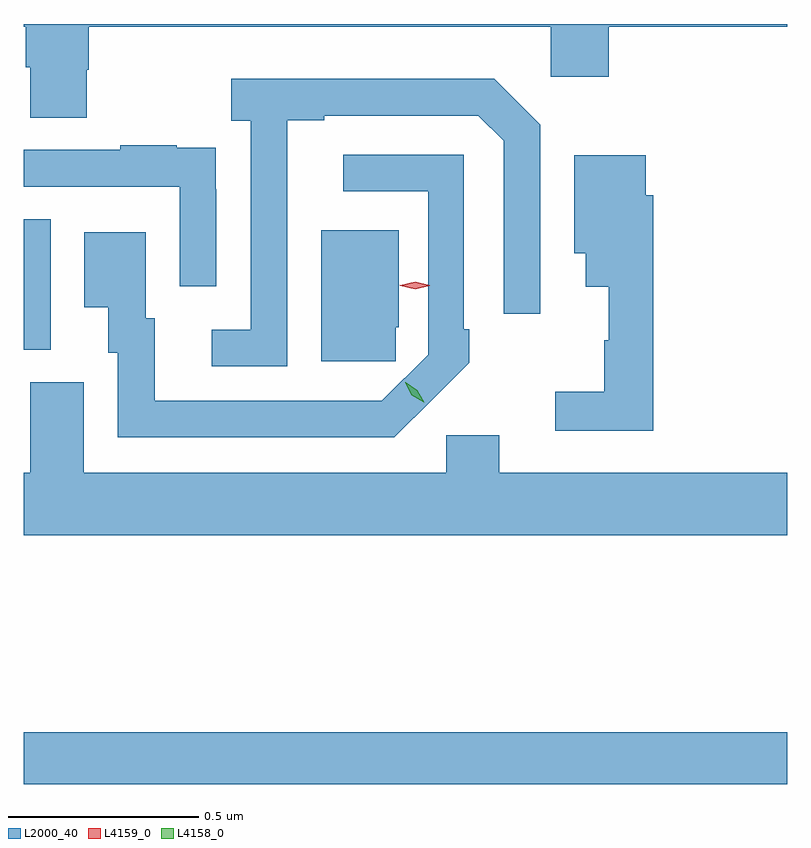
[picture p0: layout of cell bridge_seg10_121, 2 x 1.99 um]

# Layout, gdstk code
import gdstk
lib = gdstk.Library(unit=1e-6, precision=1e-09)
def R(c, l, rs):  # rectangles x0, y0, x1, y1
    for r in rs: c.add(gdstk.rectangle(r[:2], r[2:], *l))
def P(c, l, *ps):  # polygons
    for p in ps: c.add(gdstk.Polygon(p, *l))
L2000_40 = (2000, 40)
L4158_0 = (4158, 0)
L4159_0 = (4159, 0)

bridge_seg10_121 = lib.new_cell('bridge_seg10_121')
R(bridge_seg10_121, L2000_40, [(394.518,1261.036,396.518,1261.172), (394.518,1262.173,394.588,1262.516)])
P(bridge_seg10_121, L2000_40, [(394.683,1262.907),(394.688,1262.907),(394.688,1263.02),(395.898,1263.02),(395.898,1262.889),(396.05,1262.889),(396.05,1263.02),(396.518,1263.02),(396.518,1263.027),(394.518,1263.027),(394.518,1263.02),(394.523,1263.02),(394.523,1262.914),(394.535,1262.914),(394.535,1262.782),(394.683,1262.782)],
  [(395.208,1262.775),(395.305,1262.775),(395.305,1262.787),(395.709,1262.787),(395.775,1262.721),(395.775,1262.268),(395.871,1262.268),(395.871,1262.763),(395.75,1262.884),(395.061,1262.884),(395.061,1262.774),(395.112,1262.774),(395.112,1262.226),(395.01,1262.226),(395.01,1262.13),(395.208,1262.13)],
  [(395.022,1262.594),(395.021,1262.594),(395.021,1262.703),(394.919,1262.703),(394.919,1262.71),(394.771,1262.71),(394.771,1262.697),(394.518,1262.697),(394.518,1262.601),(394.926,1262.601),(394.926,1262.34),(395.022,1262.34)],
  [(395.589,1262.044),(395.685,1262.139),(395.685,1262.227),(395.67,1262.227),(395.67,1262.685),(395.355,1262.685),(395.355,1262.589),(395.577,1262.589),(395.577,1262.161),(395.456,1262.04),(394.861,1262.04),(394.861,1262.256),(394.837,1262.256),(394.837,1262.482),(394.676,1262.482),(394.676,1262.285),(394.739,1262.285),(394.739,1262.166),(394.764,1262.166),(394.764,1261.944),(395.488,1261.944)],
  [(396.167,1262.579),(396.148,1262.579),(396.148,1262.683),(395.96,1262.683),(395.96,1262.426),(395.99,1262.426),(395.99,1262.339),(396.05,1262.339),(396.05,1262.199),(396.039,1262.199),(396.039,1262.063),(395.91,1262.063),(395.91,1261.962),(396.167,1261.962)],
  [(395.493,1262.233),(395.5,1262.233),(395.5,1262.487),(395.297,1262.487),(395.297,1262.143),(395.493,1262.143)],
  [(396.518,1261.852),(395.764,1261.852),(395.764,1261.95),(395.625,1261.95),(395.625,1261.852),(394.675,1261.852),(394.675,1262.088),(394.535,1262.088),(394.535,1261.852),(394.518,1261.852),(394.518,1261.688),(396.518,1261.688)])
P(bridge_seg10_121, L4158_0, [(395.566,1262.036),(395.535,1262.055),(395.517,1262.087),(395.517,1262.088),(395.518,1262.088),(395.549,1262.068),(395.567,1262.036),(395.567,1262.036)])
P(bridge_seg10_121, L4159_0, [(395.543,1262.332),(395.504,1262.341),(395.503,1262.342),(395.504,1262.342),(395.543,1262.352),(395.582,1262.342),(395.582,1262.342),(395.582,1262.341)])

lib.write_gds('bridge_seg10_121.gds')
